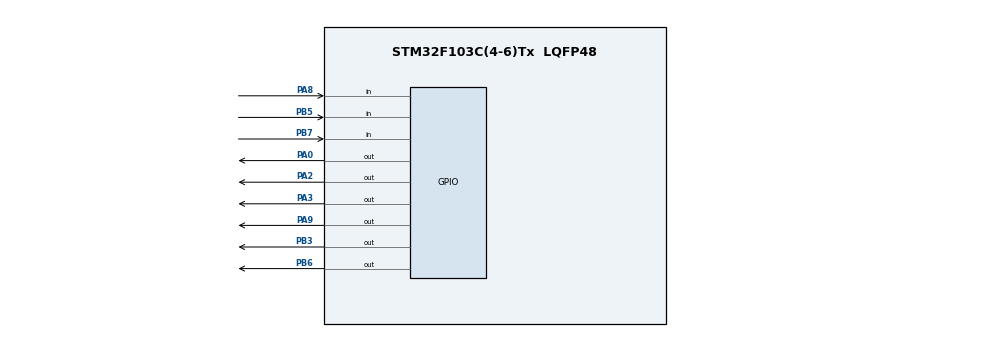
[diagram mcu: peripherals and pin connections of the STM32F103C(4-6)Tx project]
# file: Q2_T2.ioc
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Mcu.Family=STM32F1
VP_SYS_VS_ND.Mode=No_Debug
ProjectManager.StackSize=0x400
PA0-WKUP.Signal=GPIO_Output
ProjectManager.TargetToolchain=STM32CubeIDE
PA9.Signal=GPIO_Output
PB6.Signal=GPIO_Output
board=custom
RCC.APB2Freq_Value=8000000
PB7.Signal=GPIO_Input
PA8.Signal=GPIO_Input
Mcu.Name=STM32F103C(4-6)Tx
PA2.Signal=GPIO_Output
PB3.Signal=GPIO_Output
Mcu.Package=LQFP48
PB5.Signal=GPIO_Input
ProjectManager.HeapSize=0x200
NVIC.PriorityGroup=NVIC_PRIORITYGROUP_4
RCC.APB1Freq_Value=8000000
PA3.Signal=GPIO_Output

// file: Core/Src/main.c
/* USER CODE BEGIN Header */
/**
  ******************************************************************************
  * @file           : main.c
  * @brief          : Main program body
  ******************************************************************************
  * @attention
  *
  * <h2><center>&copy; Copyright (c) 2021 STMicroelectronics.
  * All rights reserved.</center></h2>
  *
  * This software component is licensed by ST under BSD 3-Clause license,
  * the "License"; You may not use this file except in compliance with the
  * License. You may obtain a copy of the License at:
  *                        opensource.org/licenses/BSD-3-Clause
  *
  ******************************************************************************
  */
/* USER CODE END Header */
#include "main.h"

/* USER CODE BEGIN Includes */
#include "stdio.h"
#include "stdlib.h"
/* USER CODE END Includes */

/* USER CODE BEGIN PD */
#define cursor_apagado	0x0c
#define cursor_aceso	0x0e
#define cursor_piscando	0x0f

#define en_0	GPIOA -> BRR  = 1<<9
#define en_1	GPIOA -> BSRR = 1<<9
#define rs_0	GPIOB -> BRR  = 1<<3
#define rs_1	GPIOB -> BSRR = 1<<3

#define d7_0	GPIOA -> BRR  = 1 << 0
#define d7_1	GPIOA -> BSRR = 1 << 0
#define d6_0	GPIOA -> BRR  = 1 << 2
#define d6_1	GPIOA -> BSRR = 1 << 2
#define d5_0	GPIOB -> BRR  = 1 << 6
#define d5_1	GPIOB -> BSRR = 1 << 6
#define d4_0	GPIOA -> BRR  = 1 << 3
#define d4_1	GPIOA -> BSRR = 1 << 3

/* USER CODE END PD */

/* USER CODE BEGIN PV */
const uint8_t tabela[7][8] = {
		{ 0b00011100, 0b00010000, 0b00010111, 0b00000101, 0b00000111, 0b00000000, 0b00000000, 0b00000000},
		{ 0b00000000, 0b00000000, 0b00011100, 0b00010100, 0b00011100, 0b00000000, 0b00000000, 0b00000000},
		{ 0b00000000, 0b00000000, 0b00000111, 0b00000101, 0b00000111, 0b00000000, 0b00000000, 0b00000000},
		{ 0b00000000, 0b00000000, 0b00011100, 0b00010100, 0b00011101, 0b00000001, 0b00000111, 0b00000000},
		{ 0b00011100, 0b00010000, 0b00010000, 0b00000000, 0b00000000, 0b00000000, 0b00000000, 0b00000000},
		{ 0b00000000, 0b00000000, 0b00000000, 0b00000000, 0b00000001, 0b00000001, 0b00000111, 0b00000000},
		{ 0b00000000, 0b00000000, 0b00001110, 0b00001010, 0b00001110, 0b00000000, 0b00000000, 0b00000000} };

/* USER CODE END PV */

void SystemClock_Config(void);
static void MX_GPIO_Init(void);
/* USER CODE BEGIN PFP */

void lcd_wrcom(uint8_t com);
void lcd_wrchar(char ch);
void lcd_init(uint8_t cursor);
void lcd_clear (void);
void lcd_goto(uint8_t x, uint8_t y);
void lcd_wrstr(char *str);
void lcd_progchar(void);

/* USER CODE END PFP */

int main(void)
{

  /* MCU Configuration--------------------------------------------------------*/

  /* Reset of all peripherals, Initializes the Flash interface and the Systick. */
  HAL_Init();

  /* Configure the system clock */
  SystemClock_Config();

  /* Initialize all configured peripherals */
  MX_GPIO_Init();
  /* USER CODE BEGIN 2 */

  const uint8_t dadoLCD[6][9] = {{ 4,32,32,32,6,32,32,32,5},{
		  	  	  	  	  	  	   0,32,32,32,32,32,32,32,3},{
		  	  	  	  	  	  	   0,32,32,32,6,32,32,32,3},{
		  	  	  	  	  	  	   0,32,1,32,32,32,2,32,3},{
		  	  	  	  	  	  	   0,32,1,32,6,32,2,32,3},{
		  	  	  	  	  	  	   0,32,1,6,32,6,2,32,3}};

  lcd_init(cursor_apagado);
  lcd_progchar();
  lcd_goto(4,2);
  lcd_clear ();
  uint8_t dado=rand() % 5;

  /* USER CODE END 2 */

  /* Infinite loop */
  while (1)
  {

	  /* USER CODE BEGIN 3 */
	  if(!(GPIOA->IDR & (1<<8)) || !(GPIOB->IDR & (1<<5))){
		  while(!(GPIOA->IDR & (1<<8))){}
		  while(!(GPIOB->IDR & (1<<5))){}
		  lcd_clear();

		  for(int j=0; j<5; j++){
			  dado=rand() % 6;
			  HAL_Delay(10);

			  lcd_goto(j*4,0);
			  for(int j=0; j<3; j++){
				  lcd_wrchar(dadoLCD[dado][j]);
			  }
			  lcd_goto(j*4,1);
			  for(int j=3; j<6; j++){
				  lcd_wrchar(dadoLCD[dado][j]);
			  }
			  lcd_goto(j*4+4,2);
			  for(int j=6; j<9; j++){
				  lcd_wrchar(dadoLCD[dado][j]);
			  }
		  }
	  }
  }
  /* USER CODE END 3 */
}

void SystemClock_Config(void)
{
  RCC_OscInitTypeDef RCC_OscInitStruct = {0};
  RCC_ClkInitTypeDef RCC_ClkInitStruct = {0};

  /** Initializes the RCC Oscillators according to the specified parameters
  * in the RCC_OscInitTypeDef structure.
  */
  RCC_OscInitStruct.OscillatorType = RCC_OSCILLATORTYPE_HSI;
  RCC_OscInitStruct.HSIState = RCC_HSI_ON;
  RCC_OscInitStruct.HSICalibrationValue = RCC_HSICALIBRATION_DEFAULT;
  RCC_OscInitStruct.PLL.PLLState = RCC_PLL_NONE;
  if (HAL_RCC_OscConfig(&RCC_OscInitStruct) != HAL_OK)
  {
    Error_Handler();
  }
  /** Initializes the CPU, AHB and APB buses clocks
  */
  RCC_ClkInitStruct.ClockType = RCC_CLOCKTYPE_HCLK|RCC_CLOCKTYPE_SYSCLK
                              |RCC_CLOCKTYPE_PCLK1|RCC_CLOCKTYPE_PCLK2;
  RCC_ClkInitStruct.SYSCLKSource = RCC_SYSCLKSOURCE_HSI;
  RCC_ClkInitStruct.AHBCLKDivider = RCC_SYSCLK_DIV1;
  RCC_ClkInitStruct.APB1CLKDivider = RCC_HCLK_DIV1;
  RCC_ClkInitStruct.APB2CLKDivider = RCC_HCLK_DIV1;

  if (HAL_RCC_ClockConfig(&RCC_ClkInitStruct, FLASH_LATENCY_0) != HAL_OK)
  {
    Error_Handler();
  }
}

static void MX_GPIO_Init(void)
{
  GPIO_InitTypeDef GPIO_InitStruct = {0};

  /* GPIO Ports Clock Enable */
  __HAL_RCC_GPIOA_CLK_ENABLE();
  __HAL_RCC_GPIOB_CLK_ENABLE();

  /*Configure GPIO pin Output Level */
  HAL_GPIO_WritePin(GPIOA, GPIO_PIN_0|GPIO_PIN_2|GPIO_PIN_3|GPIO_PIN_9, GPIO_PIN_RESET);

  /*Configure GPIO pin Output Level */
  HAL_GPIO_WritePin(GPIOB, GPIO_PIN_3|GPIO_PIN_6, GPIO_PIN_RESET);

  /*Configure GPIO pins : PA0 PA2 PA3 PA9 */
  GPIO_InitStruct.Pin = GPIO_PIN_0|GPIO_PIN_2|GPIO_PIN_3|GPIO_PIN_9;
  GPIO_InitStruct.Mode = GPIO_MODE_OUTPUT_PP;
  GPIO_InitStruct.Pull = GPIO_NOPULL;
  GPIO_InitStruct.Speed = GPIO_SPEED_FREQ_LOW;
  HAL_GPIO_Init(GPIOA, &GPIO_InitStruct);

  /*Configure GPIO pin : PA8 */
  GPIO_InitStruct.Pin = GPIO_PIN_8;
  GPIO_InitStruct.Mode = GPIO_MODE_INPUT;
  GPIO_InitStruct.Pull = GPIO_PULLUP;
  HAL_GPIO_Init(GPIOA, &GPIO_InitStruct);

  /*Configure GPIO pins : PB3 PB6 */
  GPIO_InitStruct.Pin = GPIO_PIN_3|GPIO_PIN_6;
  GPIO_InitStruct.Mode = GPIO_MODE_OUTPUT_PP;
  GPIO_InitStruct.Pull = GPIO_NOPULL;
  GPIO_InitStruct.Speed = GPIO_SPEED_FREQ_LOW;
  HAL_GPIO_Init(GPIOB, &GPIO_InitStruct);

  /*Configure GPIO pins : PB5 PB7 */
  GPIO_InitStruct.Pin = GPIO_PIN_5|GPIO_PIN_7;
  GPIO_InitStruct.Mode = GPIO_MODE_INPUT;
  GPIO_InitStruct.Pull = GPIO_PULLUP;
  HAL_GPIO_Init(GPIOB, &GPIO_InitStruct);

}

/* USER CODE BEGIN 4 */
void udelay(void)
{
	int tempo = 7;
	while(tempo--);
}

void delayus(int tempo)
{
	while(tempo--) udelay();
}

void lcd_send4bits(uint8_t dat)
{
	if((dat & (1<<0)) == 0) d4_0; else d4_1;
	if((dat & (1<<1)) == 0) d5_0; else d5_1;
	if((dat & (1<<2)) == 0) d6_0; else d6_1;
	if((dat & (1<<3)) == 0) d7_0; else d7_1;
}

//Comando de 4 bits
void lcd_wrcom4(uint8_t com)
{
	lcd_send4bits(com);
	rs_0;
	en_1;
	delayus(5);
	en_0;
	HAL_Delay(5);
}

// Comando de 8 bits
void lcd_wrcom(uint8_t com)
{
	lcd_send4bits(com>>4);
	rs_0;
	en_1;
	delayus(5);
	en_0;

	lcd_send4bits(com);
	en_1;
	delayus(5);
	en_0;
	HAL_Delay(5);
}

void lcd_wrchar(char ch)
{
	lcd_send4bits(ch>>4);
	rs_1;
	en_1;
	delayus(5);
	en_0;
	HAL_Delay(5);

	lcd_send4bits(ch);
	en_1;
	delayus(5);
	en_0;
	HAL_Delay(5);
}

void lcd_init(uint8_t cursor)
{
	lcd_wrcom4(3);
	lcd_wrcom4(3);
	lcd_wrcom4(3);
	lcd_wrcom4(2);

	lcd_wrcom(0x28);
	lcd_wrcom(cursor);
	lcd_wrcom(0x06);
	lcd_wrcom(0x01);
}

void lcd_clear (void)
{
	lcd_wrcom(0x01);
}

void lcd_goto(uint8_t x, uint8_t y)
{
	uint8_t com = 0x80;
	if(y==0) com = 0x80 + x;
	if(y==1) com = 0xC0 + x;
	if(y==2) com = 0x90 + x;
	if(y==3) com = 0xD0 + x;

	lcd_wrcom(com);
}

void lcd_wrstr(char *str)
{
	while(*str) lcd_wrchar(*(str++));
}

void lcd_progchar(void){
	uint8_t k,j;
	lcd_wrcom(0x40);
	for(j=0;j<7;j++){
		for(k=0;k<8;k++){
			lcd_wrchar(tabela[j][k]);
		}
	}
	lcd_wrcom(0x80);
}

/* USER CODE END 4 */

void Error_Handler(void)
{
  __disable_irq();
  while (1)
  {
  }
}

/************************ (C) COPYRIGHT STMicroelectronics *****END OF FILE****/
